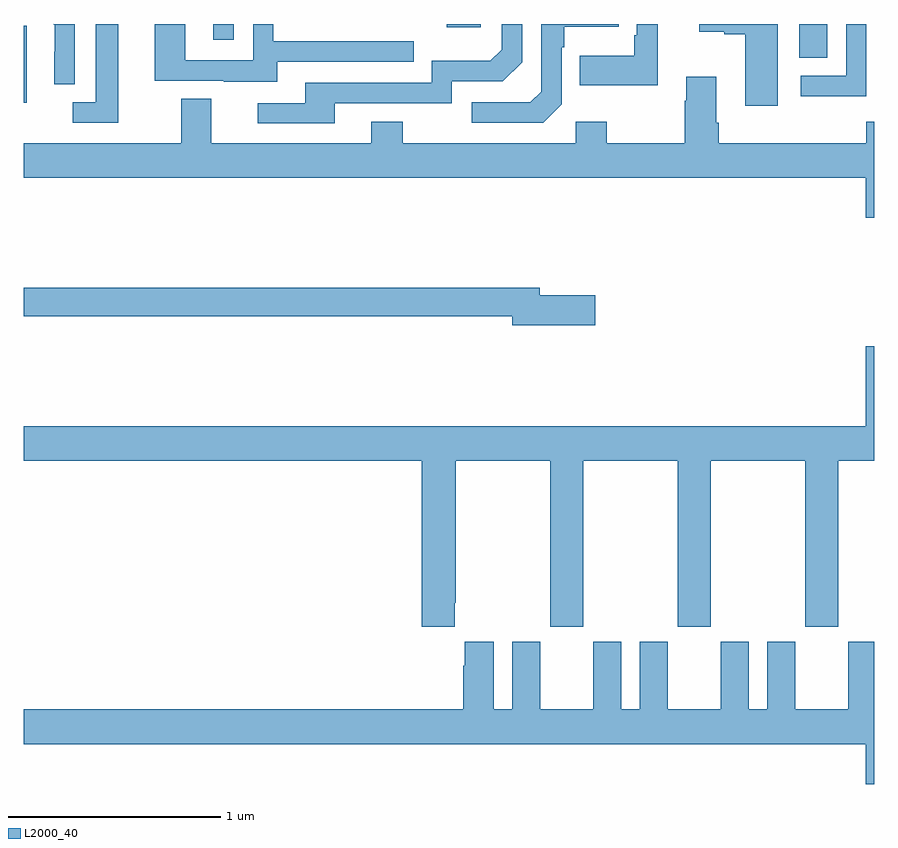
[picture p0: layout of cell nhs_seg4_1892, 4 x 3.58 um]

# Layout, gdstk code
import gdstk
lib = gdstk.Library(unit=1e-6, precision=1e-09)
def R(c, l, rs):  # rectangles x0, y0, x1, y1
    for r in rs: c.add(gdstk.rectangle(r[:2], r[2:], *l))
def P(c, l, *ps):  # polygons
    for p in ps: c.add(gdstk.Polygon(p, *l))
L2000_40 = (2000, 40)

nhs_seg4_1892 = lib.new_cell('nhs_seg4_1892')
R(nhs_seg4_1892, L2000_40, [(209,774.53,209.014,774.891), (212.648,774.742,212.779,774.9), (209.891,774.825,209.988,774.9), (210.989,774.884,211.15,774.9)])
P(nhs_seg4_1892, L2000_40, [(210.193,774.723),(210.833,774.723),(210.833,774.819),(210.174,774.819),(210.174,774.9),(210.078,774.9),(210.078,774.729),(209.76,774.729),(209.76,774.9),(209.615,774.9),(209.615,774.633),(209.939,774.633),(209.939,774.629),(210.193,774.629)],
  [(212.964,774.9),(212.868,774.9),(212.868,774.657),(212.655,774.657),(212.655,774.559),(212.964,774.559)],
  [(209.238,774.9),(209.137,774.9),(209.144,774.893),(209.144,774.77),(209.142,774.77),(209.142,774.616),(209.238,774.616)],
  [(212.548,774.9),(212.178,774.9),(212.178,774.863),(212.294,774.863),(212.294,774.851),(212.393,774.851),(212.393,774.516),(212.548,774.516)],
  [(211.982,774.9),(211.884,774.9),(211.884,774.847),(211.872,774.847),(211.872,774.751),(211.615,774.751),(211.615,774.611),(211.982,774.611)],
  [(210.463,774.528),(211.014,774.528),(211.014,774.63),(211.254,774.63),(211.344,774.72),(211.344,774.9),(211.248,774.9),(211.248,774.78),(211.195,774.727),(210.918,774.727),(210.918,774.624),(210.323,774.624),(210.323,774.528),(210.099,774.528),(210.099,774.432),(210.463,774.432)],
  [(211.53,774.522),(211.53,774.791),(211.543,774.791),(211.543,774.887),(211.799,774.887),(211.799,774.9),(211.434,774.9),(211.434,774.582),(211.383,774.531),(211.107,774.531),(211.107,774.435),(211.443,774.435)],
  [(209.443,774.9),(209.339,774.9),(209.339,774.531),(209.229,774.531),(209.229,774.435),(209.443,774.435)],
  [(213,774.439),(212.963,774.439),(212.963,774.34),(212.27,774.34),(212.27,774.436),(212.257,774.436),(212.257,774.652),(212.117,774.652),(212.117,774.539),(212.11,774.539),(212.11,774.34),(211.743,774.34),(211.743,774.439),(211.596,774.439),(211.596,774.34),(210.783,774.34),(210.783,774.439),(210.635,774.439),(210.635,774.34),(209.881,774.34),(209.881,774.548),(209.741,774.548),(209.741,774.34),(209,774.34),(209,774.176),(212.96,774.176),(212.96,773.988),(213,773.988)],
  [(211.687,773.624),(211.426,773.624),(211.426,773.66),(209,773.66),(209,773.524),(211.298,773.524),(211.298,773.482),(211.687,773.482)],
  [(211.027,772.177),(211.032,772.177),(211.032,772.844),(211.477,772.844),(211.477,772.065),(211.632,772.065),(211.632,772.844),(212.077,772.844),(212.077,772.065),(212.232,772.065),(212.232,772.844),(212.677,772.844),(212.677,772.065),(212.832,772.065),(212.832,772.844),(213,772.844),(213,773.383),(212.96,773.383),(212.96,773.008),(209,773.008),(209,772.844),(210.872,772.844),(210.872,772.065),(211.027,772.065)],
  [(212.96,771.324),(213,771.324),(213,771.994),(212.879,771.994),(212.879,771.676),(212.629,771.676),(212.629,771.994),(212.498,771.994),(212.498,771.676),(212.41,771.676),(212.41,771.994),(212.279,771.994),(212.279,771.676),(212.029,771.676),(212.029,771.994),(211.898,771.994),(211.898,771.676),(211.81,771.676),(211.81,771.994),(211.679,771.994),(211.679,771.676),(211.429,771.676),(211.429,771.994),(211.298,771.994),(211.298,771.676),(211.21,771.676),(211.21,771.994),(211.073,771.994),(211.073,771.881),(211.067,771.881),(211.067,771.676),(209,771.676),(209,771.512),(212.96,771.512)])

lib.write_gds('nhs_seg4_1892.gds')
